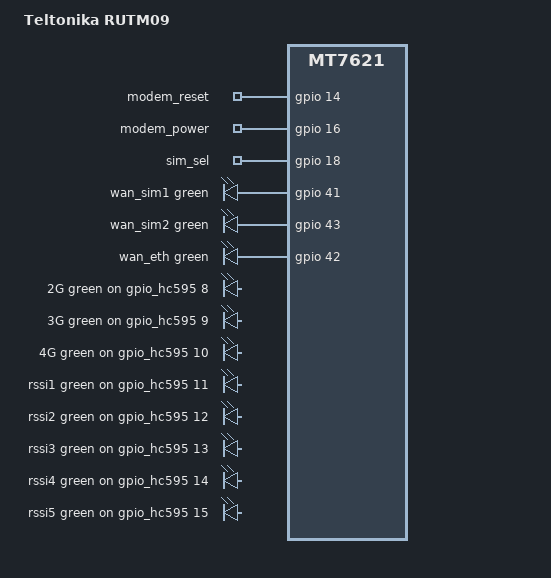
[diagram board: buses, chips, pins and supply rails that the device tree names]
// SPDX-License-Identifier: GPL-2.0-or-later OR MIT

#include "mt7621_teltonika_rutm-3lan.dtsi"

/ {
	compatible = "teltonika,rutm09", "mediatek,mt7621-soc";
	model = "Teltonika RUTM09";

	gpio-export {
		compatible = "gpio-export";
		#size-cells = <0>;

		gpio_modem_reset {
			gpio-export,name = "modem_reset";
			gpio-export,output = <0>;
			gpios = <&gpio 14 GPIO_ACTIVE_HIGH>;
		};

		gpio_modem_power {
			gpio-export,name = "modem_power";
			gpio-export,output = <0>;
			gpios = <&gpio 16 GPIO_ACTIVE_HIGH>;
		};

		gpio_sim_select {
			gpio-export,name = "sim_sel";
			gpio-export,output = <0>;
			gpios = <&gpio 18 GPIO_ACTIVE_HIGH>;
		};
	};

	leds {
		wan_sim1 {
			function = "wan-sim1";
			color = <LED_COLOR_ID_GREEN>;
			gpios = <&gpio 41 GPIO_ACTIVE_HIGH>;
		};

		wan_sim2 {
			function = "wan-sim2";
			color = <LED_COLOR_ID_GREEN>;
			gpios = <&gpio 43 GPIO_ACTIVE_HIGH>;
		};

		wan_eth {
			function = "wan-eth";
			color = <LED_COLOR_ID_GREEN>;
			gpios = <&gpio 42 GPIO_ACTIVE_HIGH>;
		};

		2G {
			function = "2G";
			color = <LED_COLOR_ID_GREEN>;
			gpios = <&gpio_hc595 8 GPIO_ACTIVE_HIGH>;
		};

		3G {
			function = "3G";
			color = <LED_COLOR_ID_GREEN>;
			gpios = <&gpio_hc595 9 GPIO_ACTIVE_HIGH>;
		};

		4G {
			function = "4G";
			color = <LED_COLOR_ID_GREEN>;
			gpios = <&gpio_hc595 10 GPIO_ACTIVE_HIGH>;
		};

		rssi1 {
			function = "rssi-1";
			color = <LED_COLOR_ID_GREEN>;
			gpios = <&gpio_hc595 11 GPIO_ACTIVE_HIGH>;
		};

		rssi2 {
			function = "rssi-2";
			color = <LED_COLOR_ID_GREEN>;
			gpios = <&gpio_hc595 12 GPIO_ACTIVE_HIGH>;
		};

		rssi3 {
			function = "rssi-3";
			color = <LED_COLOR_ID_GREEN>;
			gpios = <&gpio_hc595 13 GPIO_ACTIVE_HIGH>;
		};

		rssi4 {
			function = "rssi-4";
			color = <LED_COLOR_ID_GREEN>;
			gpios = <&gpio_hc595 14 GPIO_ACTIVE_HIGH>;
		};

		rssi5 {
			function = "rssi-5";
			color = <LED_COLOR_ID_GREEN>;
			gpios = <&gpio_hc595 15 GPIO_ACTIVE_HIGH>;
		};
	};
};
